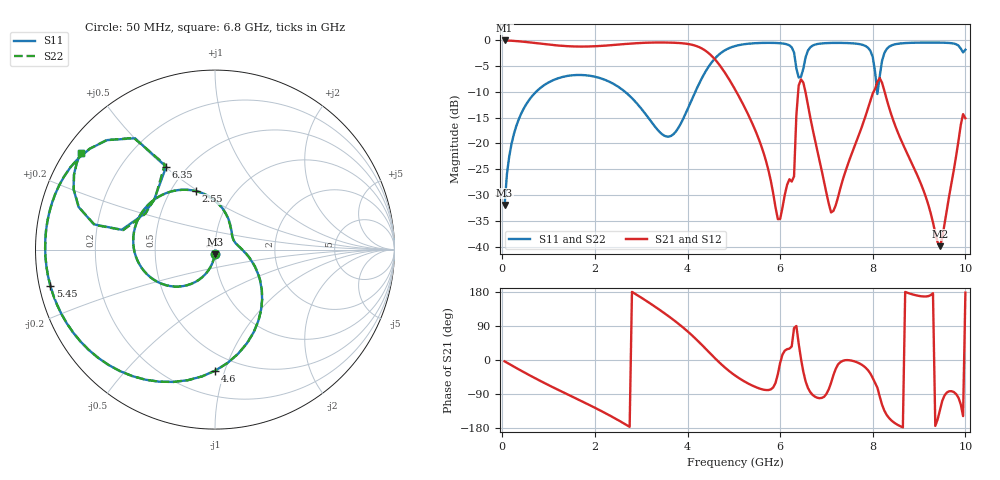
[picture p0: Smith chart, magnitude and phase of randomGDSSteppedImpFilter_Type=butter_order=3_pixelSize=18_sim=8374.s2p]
! freq	dB(S11)	phase(S11)	dB(S12)	phase(S12)
!  dB(S21)	phase(S21)	dB(S22)	phase(S22)
!S-par simulation data
#  GHz  S  DB  R 50
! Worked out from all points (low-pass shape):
!   200 points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, 50 MHz to 10 GHz, reference 50 ohm
!   highest |S21| = -0.01 dB at 50 MHz (marker M1); lowest = -39.9 dB at 9.45 GHz (marker M2)
!   |S21| within 3 dB of the highest: start of sweep to 4.521 GHz
!   lowest |S11| = -32.0 dB at 50 MHz (marker M3), VSWR 1.05, Z = 49.8 - j2.51 ohm
!   |S11| at or under -10 dB: start of sweep to 727.1 MHz; 2.655 GHz to 4.166 GHz (1.511 GHz wide, 44.3 % of centre); 8.095367 GHz to 8.10573 GHz (10.36 MHz wide, 0.128 % of centre)
!   |S22| runs from -32.0 to -0.4 dB; largest |S21 - S12| = 0
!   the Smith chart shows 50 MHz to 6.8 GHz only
!   S11 on the Smith chart (normalised r, x): 50 MHz: 1.00, -0.05; 2.55 GHz: 0.66, +0.49; 4.6 GHz: 0.38, -0.93; 5.45 GHz: 0.03, -0.11; 6.35 GHz: 0.39, +0.50; 6.8 GHz: 0.04, +0.32
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0.05  -31.95 -93.5  -0.01 -3.6  -0.01 -3.6  -31.95 -93.5
0.2  -20.04 -104.3  -0.07 -14.0  -0.07 -14.0  -20.04 -104.3
0.5  -12.64 -124.9  -0.29 -34.4  -0.29 -34.4  -12.64 -124.9
1.75  -6.72 158.8  -1.19 -110.9  -1.19 -110.9  -6.72 158.9
2.55  -9.28 108.2  -0.77 -162.1  -0.77 -162.1  -9.28 108.4
3.4  -17.80 43.0  -0.40 132.2  -0.40 132.2  -17.80 43.8
4  -13.37 -17.6  -0.67 75.7  -0.67 75.7  -13.38 -17.1
4.6  -3.42 -89.9  -3.76 3.8  -3.76 3.8  -3.43 -89.8
5.05  -1.04 -137.3  -9.89 -42.9  -9.89 -42.9  -1.04 -137.3
5.45  -0.54 -167.7  -17.17 -70.3  -17.17 -70.3  -0.54 -167.7
6  -0.54 157.8  -34.64 -7.6  -34.64 -7.6  -0.54 157.8
6.3  -2.34 125.7  -26.38 84.3  -26.38 84.3  -2.27 126.1
6.35  -5.41 120.5  -14.49 89.8  -14.49 89.8  -5.18 120.5
6.45  -7.05 153.9  -7.55 2.9  -7.55 2.9  -7.22 152.7
6.7  -1.01 152.0  -17.15 -92.0  -17.15 -92.0  -1.02 152.0
6.8  -0.71 144.2  -21.29 -99.6  -21.29 -99.6  -0.71 144.1
7.1  -0.49 127.1  -33.37 -60.1  -33.37 -60.1  -0.49 127.0
8  -3.23 67.7  -10.28 -47.8  -10.28 -47.8  -3.22 67.3
8.1  -10.40 89.7  -8.07 -73.1  -8.07 -73.1  -10.67 87.5
8.35  -1.24 101.3  -12.97 -153.0  -12.97 -153.0  -1.26 101.6
9.45  -0.43 47.4  -39.92 -132.6  -39.92 -132.6  -0.43 47.3
10  -1.81 34.6  -15.10 177.6  -15.10 177.6  -1.81 34.6
